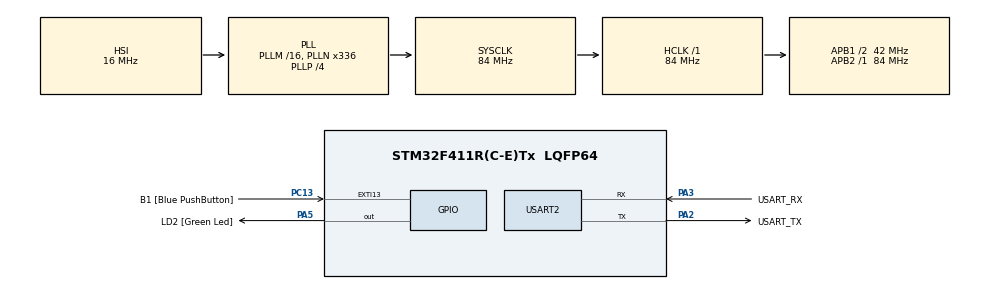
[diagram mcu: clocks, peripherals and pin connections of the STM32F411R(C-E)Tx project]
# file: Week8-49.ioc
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Mcu.Family=STM32F4
PC15-OSC32_OUT.Mode=LSE-External-Oscillator
RCC.CortexFreq_Value=84000000
PC13-ANTI_TAMP.GPIO_Label=B1 [Blue PushButton]
PA14.GPIO_Label=TCK
PH1\ -\ OSC_OUT.Mode=HSE-External-Clock-Source
RCC.APB1CLKDivider=RCC_HCLK_DIV2
PC14-OSC32_IN.Signal=RCC_OSC32_IN
NVIC.USART2_IRQn=true\:0\:0\:false\:false\:true\:true\:true
RCC.SYSCLKSource=RCC_SYSCLKSOURCE_PLLCLK
ProjectManager.StackSize=0x400
PA13.Signal=SYS_JTMS-SWDIO
PA3.Mode=Asynchronous
PH0\ -\ OSC_IN.Mode=HSE-External-Clock-Source
PH0\ -\ OSC_IN.Signal=RCC_OSC_IN
ProjectManager.TargetToolchain=STM32CubeIDE
RCC.HCLKFreq_Value=84000000
RCC.APB2TimFreq_Value=84000000
PC15-OSC32_OUT.Signal=RCC_OSC32_OUT
RCC.AHBFreq_Value=84000000
PA5.Signal=GPIO_Output
RCC.HSE_VALUE=8000000
PH1\ -\ OSC_OUT.Signal=RCC_OSC_OUT
board=NUCLEO-F411RE
PC13-ANTI_TAMP.Signal=GPXTI13
RCC.VCOOutputFreq_Value=336000000
RCC.APB2Freq_Value=84000000
PC14-OSC32_IN.Mode=LSE-External-Oscillator
PA14.Mode=Serial_Wire
PA13.Mode=Serial_Wire
Mcu.Name=STM32F411R(C-E)Tx
PA2.Signal=USART2_TX
PA13.GPIO_Label=TMS
RCC.FLatency-AdvancedSettings=FLASH_LATENCY_2
RCC.48MHZClocksFreq_Value=84000000
PB3.Signal=SYS_JTDO-SWO
RCC.SYSCLKFreq_VALUE=84000000
Mcu.Package=LQFP64
PA5.GPIO_Label=LD2 [Green Led]
USART2.VirtualMode=VM_ASYNC
PC13-ANTI_TAMP.GPIO_ModeDefaultEXTI=GPIO_MODE_IT_FALLING
PA2.GPIO_Label=USART_TX
PA14.Signal=SYS_JTCK-SWCLK
ProjectManager.HeapSize=0x200
RCC.HSI_VALUE=16000000
RCC.PLLP=RCC_PLLP_DIV4
NVIC.PriorityGroup=NVIC_PRIORITYGROUP_0
RCC.PLLN=336
RCC.APB1TimFreq_Value=84000000
PA2.Mode=Asynchronous
RCC.APB1Freq_Value=42000000
PA3.GPIO_Label=USART_RX
PA3.Signal=USART2_RX
PB3.GPIO_Label=SWO

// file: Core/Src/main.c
/* USER CODE BEGIN Header */
/**
 ******************************************************************************
 * @file           : main.c
 * @brief          : Main program body
 ******************************************************************************
 * @attention
 *
 * <h2><center>&copy; Copyright (c) 2021 STMicroelectronics.
 * All rights reserved.</center></h2>
 *
 * This software component is licensed by ST under BSD 3-Clause license,
 * the "License"; You may not use this file except in compliance with the
 * License. You may obtain a copy of the License at:
 *                        opensource.org/licenses/BSD-3-Clause
 *
 ******************************************************************************
 */
/* USER CODE END Header */
#include "main.h"

/* USER CODE BEGIN Includes */
#include <stdio.h>
#include <string.h>
/* USER CODE END Includes */

UART_HandleTypeDef huart2;

/* USER CODE BEGIN PV */
char TxDataBuffer[32] = { 0 };
char RxDataBuffer[32] = { 0 };
/* USER CODE END PV */

void SystemClock_Config(void);
static void MX_GPIO_Init(void);
static void MX_USART2_UART_Init(void);
/* USER CODE BEGIN PFP */
void UARTRecieveAndResponsePolling();
int16_t UARTRecieveIT();
/* USER CODE END PFP */

/* USER CODE BEGIN 0 */

enum _StateDisplay
{
  StateDisplay_Start = 0,
  StateDisplay_MainMenu_Print = 10,
  StateDisplay_MainMenu_WaitInput,
  StateDisplay_Menu0_Print = 20,
  StateDisplay_Menu0_WaitInput,
  StateDisplay_Menu1_Print = 30,
  StateDisplay_Menu1_WaitInput
};

uint8_t StateSW[2] = {0};
uint8_t STATE_Display = 0;
uint8_t Frequency = 2;
uint8_t Delay = 100;
uint8_t LEDStatus = 1;

/* USER CODE END 0 */

int main(void)
{

  /* MCU Configuration--------------------------------------------------------*/

  /* Reset of all peripherals, Initializes the Flash interface and the Systick. */
  HAL_Init();

  /* Configure the system clock */
  SystemClock_Config();

  /* Initialize all configured peripherals */
  MX_GPIO_Init();
  MX_USART2_UART_Init();
  /* USER CODE BEGIN 2 */
  {

  char temp[]="HELLO WORLD\r\n please type something to test UART\r\n\r\n";
  HAL_UART_Transmit(&huart2, (uint8_t*)temp, strlen(temp),10);

  }
  /* USER CODE END 2 */

  /* Infinite loop */
  /* USER CODE BEGIN WHILE */
	while (1)
	{
		/*UARTRecieveAndResponsePolling();*/															// Method 1 Polling Mode

		HAL_UART_Receive_IT(&huart2, (uint8_t*)RxDataBuffer, 32);										// Method 2 Interrupt Mode

		int16_t inputchar = UARTRecieveIT();																// Show ReceivedChar:
		if(inputchar != -1)
		{
			sprintf(TxDataBuffer, "ReceivedChar:[%c]\r\n\r\n", inputchar);
			HAL_UART_Transmit(&huart2, (uint8_t*)TxDataBuffer, strlen(TxDataBuffer), 1000);
		}

// STATE START
		switch (STATE_Display)
		{
		case StateDisplay_Start:
			STATE_Display = StateDisplay_MainMenu_Print;
			break;

// MAINMENU
		case StateDisplay_MainMenu_Print:
			sprintf(TxDataBuffer, "0: LED Control\r\n1: Button Status\r\n\r\n");
			HAL_UART_Transmit(&huart2, (uint8_t*)TxDataBuffer, strlen(TxDataBuffer), 1000);
			STATE_Display = StateDisplay_MainMenu_WaitInput;
			break;

		case StateDisplay_MainMenu_WaitInput:
			switch (inputchar)
			{
			case -1:
				break;
			case '0':
				STATE_Display = StateDisplay_Menu0_Print;
				break;
			case '1':
				STATE_Display = StateDisplay_Menu1_Print;
				break;
			default:
				sprintf(TxDataBuffer, "Unidentified Input\r\n");
				HAL_UART_Transmit(&huart2, (uint8_t*)TxDataBuffer, strlen(TxDataBuffer), 1000);
				STATE_Display = StateDisplay_MainMenu_Print;
				break;
			}
			break;

// MENU-0
		case StateDisplay_Menu0_Print:
			sprintf(TxDataBuffer, "a: +1 Hz\r\ns:-1 Hz\r\nd:On/Off\r\nx: Back\r\n");
			HAL_UART_Transmit(&huart2, (uint8_t*)TxDataBuffer, strlen(TxDataBuffer), 1000);
			STATE_Display = StateDisplay_Menu0_WaitInput;
			break;
		case StateDisplay_Menu0_WaitInput:
			switch (inputchar)
			{
			case -1:
				break;
			case 'a':
				Frequency += 1;
				Delay = 1000/(2*Frequency);
				sprintf(TxDataBuffer, "LED Frequency = %d Hz\r\n", Frequency);
				HAL_UART_Transmit(&huart2, (uint8_t*)TxDataBuffer, strlen(TxDataBuffer), 1000);
				STATE_Display = StateDisplay_Menu0_Print;
				break;
			case 's':
				if (Frequency > 0)
				{
					Frequency -= 1;
					Delay = 1000/(2*Frequency);
					sprintf(TxDataBuffer, "LED Frequency = %d Hz\r\n", Frequency);
					HAL_UART_Transmit(&huart2, (uint8_t*)TxDataBuffer, strlen(TxDataBuffer), 1000);
				}
				else if (Frequency <= 0 )
				{
					Frequency = 0;
					sprintf(TxDataBuffer, "LED Frequency = %d Hz\r\n", Frequency);
					HAL_UART_Transmit(&huart2, (uint8_t*)TxDataBuffer, strlen(TxDataBuffer), 1000);
					//
				}
				STATE_Display = StateDisplay_Menu0_Print;
				break;
			case 'd':
				if (LEDStatus == 0)
				{
					LEDStatus = 1;
				}
				else if (LEDStatus == 1)
				{
					LEDStatus = 0;
				}
				STATE_Display = StateDisplay_Menu0_Print;
				break;
			case 'x':
				STATE_Display = StateDisplay_MainMenu_Print;
				break;
			default:
				sprintf(TxDataBuffer, "Unidentified Input\r\n");
				HAL_UART_Transmit(&huart2, (uint8_t*)TxDataBuffer, strlen(TxDataBuffer), 1000);
				STATE_Display = StateDisplay_Menu0_Print;
				break;
			}
			break;

// MENU-1
		case StateDisplay_Menu1_Print:
			sprintf(TxDataBuffer, "x: Back\r\n");
			HAL_UART_Transmit(&huart2, (uint8_t*)TxDataBuffer, strlen(TxDataBuffer), 1000);
			STATE_Display = StateDisplay_Menu1_WaitInput;
			break;
		case StateDisplay_Menu1_WaitInput:
			switch (inputchar)
			{
			case -1:
				break;
			case 'x':
				STATE_Display = StateDisplay_MainMenu_Print;
				break;
			default:
				sprintf(TxDataBuffer, "Unidentified Input\r\n");
				HAL_UART_Transmit(&huart2, (uint8_t*)TxDataBuffer, strlen(TxDataBuffer), 1000);
				STATE_Display = StateDisplay_Menu1_Print;
				break;
			}
			StateSW[0] = HAL_GPIO_ReadPin(GPIOC, GPIO_PIN_13);
			if (StateSW[1] == 1 && StateSW[0] == 0)
			{
				sprintf(TxDataBuffer, "Pressed\r\n");
				HAL_UART_Transmit(&huart2, (uint8_t*)TxDataBuffer, strlen(TxDataBuffer), 1000);
			}
			else if (StateSW[1] == 0 && StateSW[0] == 1)
			{
				sprintf(TxDataBuffer, "Unpressed\r\n");
				HAL_UART_Transmit(&huart2, (uint8_t*)TxDataBuffer, strlen(TxDataBuffer), 1000);
			}
			StateSW[1] = StateSW[0];
			break;
		}

// LED On/Off Status
		if (LEDStatus == 1)
		{
			HAL_Delay(Delay);
			HAL_GPIO_TogglePin(LD2_GPIO_Port, LD2_Pin);
		}
		else if(LEDStatus == 0)
		{
			HAL_Delay(Delay);
			HAL_GPIO_WritePin(LD2_GPIO_Port, LD2_Pin, RESET);
		}

		/*This section just simmulate Work Load*/

    /* USER CODE END WHILE */

	}
}

void SystemClock_Config(void)
{
  RCC_OscInitTypeDef RCC_OscInitStruct = {0};
  RCC_ClkInitTypeDef RCC_ClkInitStruct = {0};

  /** Configure the main internal regulator output voltage
  */
  __HAL_RCC_PWR_CLK_ENABLE();
  __HAL_PWR_VOLTAGESCALING_CONFIG(PWR_REGULATOR_VOLTAGE_SCALE1);
  /** Initializes the RCC Oscillators according to the specified parameters
  * in the RCC_OscInitTypeDef structure.
  */
  RCC_OscInitStruct.OscillatorType = RCC_OSCILLATORTYPE_HSI;
  RCC_OscInitStruct.HSIState = RCC_HSI_ON;
  RCC_OscInitStruct.HSICalibrationValue = RCC_HSICALIBRATION_DEFAULT;
  RCC_OscInitStruct.PLL.PLLState = RCC_PLL_ON;
  RCC_OscInitStruct.PLL.PLLSource = RCC_PLLSOURCE_HSI;
  RCC_OscInitStruct.PLL.PLLM = 16;
  RCC_OscInitStruct.PLL.PLLN = 336;
  RCC_OscInitStruct.PLL.PLLP = RCC_PLLP_DIV4;
  RCC_OscInitStruct.PLL.PLLQ = 4;
  if (HAL_RCC_OscConfig(&RCC_OscInitStruct) != HAL_OK)
  {
    Error_Handler();
  }
  /** Initializes the CPU, AHB and APB buses clocks
  */
  RCC_ClkInitStruct.ClockType = RCC_CLOCKTYPE_HCLK|RCC_CLOCKTYPE_SYSCLK
                              |RCC_CLOCKTYPE_PCLK1|RCC_CLOCKTYPE_PCLK2;
  RCC_ClkInitStruct.SYSCLKSource = RCC_SYSCLKSOURCE_PLLCLK;
  RCC_ClkInitStruct.AHBCLKDivider = RCC_SYSCLK_DIV1;
  RCC_ClkInitStruct.APB1CLKDivider = RCC_HCLK_DIV2;
  RCC_ClkInitStruct.APB2CLKDivider = RCC_HCLK_DIV1;

  if (HAL_RCC_ClockConfig(&RCC_ClkInitStruct, FLASH_LATENCY_2) != HAL_OK)
  {
    Error_Handler();
  }
}

static void MX_USART2_UART_Init(void)
{

  huart2.Instance = USART2;
  huart2.Init.BaudRate = 115200;
  huart2.Init.WordLength = UART_WORDLENGTH_8B;
  huart2.Init.StopBits = UART_STOPBITS_1;
  huart2.Init.Parity = UART_PARITY_NONE;
  huart2.Init.Mode = UART_MODE_TX_RX;
  huart2.Init.HwFlowCtl = UART_HWCONTROL_NONE;
  huart2.Init.OverSampling = UART_OVERSAMPLING_16;
  if (HAL_UART_Init(&huart2) != HAL_OK)
  {
    Error_Handler();
  }

}

static void MX_GPIO_Init(void)
{
  GPIO_InitTypeDef GPIO_InitStruct = {0};

  /* GPIO Ports Clock Enable */
  __HAL_RCC_GPIOC_CLK_ENABLE();
  __HAL_RCC_GPIOH_CLK_ENABLE();
  __HAL_RCC_GPIOA_CLK_ENABLE();
  __HAL_RCC_GPIOB_CLK_ENABLE();

  /*Configure GPIO pin Output Level */
  HAL_GPIO_WritePin(LD2_GPIO_Port, LD2_Pin, GPIO_PIN_RESET);

  /*Configure GPIO pin : B1_Pin */
  GPIO_InitStruct.Pin = B1_Pin;
  GPIO_InitStruct.Mode = GPIO_MODE_IT_FALLING;
  GPIO_InitStruct.Pull = GPIO_NOPULL;
  HAL_GPIO_Init(B1_GPIO_Port, &GPIO_InitStruct);

  /*Configure GPIO pin : LD2_Pin */
  GPIO_InitStruct.Pin = LD2_Pin;
  GPIO_InitStruct.Mode = GPIO_MODE_OUTPUT_PP;
  GPIO_InitStruct.Pull = GPIO_NOPULL;
  GPIO_InitStruct.Speed = GPIO_SPEED_FREQ_LOW;
  HAL_GPIO_Init(LD2_GPIO_Port, &GPIO_InitStruct);

}

/* USER CODE BEGIN 4 */
void UARTRecieveAndResponsePolling()
{
	char Recieve[32]={0};

	HAL_UART_Receive(&huart2, (uint8_t*)Recieve, 32, 1000);

	sprintf(TxDataBuffer, "Received:[%s]\r\n", Recieve);
	HAL_UART_Transmit(&huart2, (uint8_t*)TxDataBuffer, strlen(TxDataBuffer), 1000);

}

int16_t UARTRecieveIT()
{
	static uint32_t dataPos = 0;
	int16_t data = -1;
	if(huart2.RxXferSize - huart2.RxXferCount != dataPos)
	{
		data = RxDataBuffer[dataPos];
		dataPos = (dataPos+1)%huart2.RxXferSize;
	}
	return data;
}

void HAL_UART_RxCpltCallback(UART_HandleTypeDef *huart)
{
	sprintf(TxDataBuffer, "Received:[%s]\r\n", RxDataBuffer);
	HAL_UART_Transmit(&huart2, (uint8_t*)TxDataBuffer, strlen(TxDataBuffer), 1000);
}
/* USER CODE END 4 */

void Error_Handler(void)
{
	__disable_irq();
	while (1)
	{
	}
}

/************************ (C) COPYRIGHT STMicroelectronics *****END OF FILE****/
